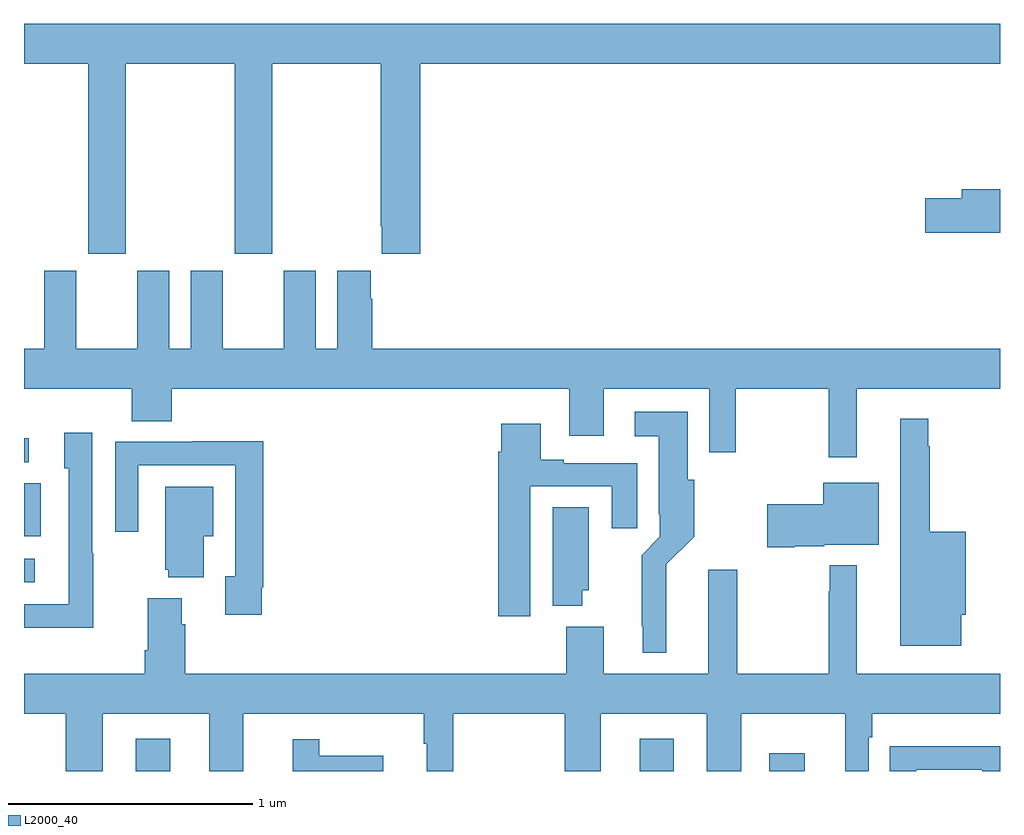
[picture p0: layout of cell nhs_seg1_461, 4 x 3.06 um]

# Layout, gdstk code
import gdstk
lib = gdstk.Library(unit=1e-6, precision=1e-09)
def R(c, l, rs):  # rectangles x0, y0, x1, y1
    for r in rs: c.add(gdstk.rectangle(r[:2], r[2:], *l))
def P(c, l, *ps):  # polygons
    for p in ps: c.add(gdstk.Polygon(p, *l))
L2000_40 = (2000, 40)

nhs_seg1_461 = lib.new_cell('nhs_seg1_461')
R(nhs_seg1_461, L2000_40, [(137.459,514.199,137.599,514.333), (139.523,514.199,139.663,514.333), (140.054,514.199,140.2,514.273), (137,514.974,137.044,515.07), (137,515.162,137.068,515.381), (137,515.466,137.02,515.564)])
P(nhs_seg1_461, L2000_40, [(137.418,517.1),(137.863,517.1),(137.863,516.321),(138.018,516.321),(138.018,517.1),(138.463,517.1),(138.463,516.433),(138.467,516.433),(138.467,516.321),(138.623,516.321),(138.623,517.1),(141,517.1),(141,517.264),(137,517.264),(137,517.1),(137.263,517.1),(137.263,516.321),(137.418,516.321)],
  [(141,516.584),(140.843,516.584),(140.843,516.548),(140.694,516.548),(140.694,516.406),(141,516.406)],
  [(138.284,516.25),(138.284,515.932),(138.196,515.932),(138.196,516.25),(138.065,516.25),(138.065,515.932),(137.815,515.932),(137.815,516.25),(137.684,516.25),(137.684,515.932),(137.596,515.932),(137.596,516.25),(137.465,516.25),(137.465,515.932),(137.215,515.932),(137.215,516.25),(137.084,516.25),(137.084,515.932),(137,515.932),(137,515.768),(137.441,515.768),(137.441,515.635),(137.606,515.635),(137.606,515.768),(139.235,515.768),(139.235,515.574),(139.375,515.574),(139.375,515.768),(139.809,515.768),(139.809,515.508),(139.918,515.508),(139.918,515.768),(140.299,515.768),(140.299,515.487),(140.413,515.487),(140.413,515.768),(141,515.768),(141,515.932),(138.428,515.932),(138.428,516.137),(138.421,516.137),(138.421,516.25)],
  [(139.633,515.048),(139.746,515.161),(139.746,515.394),(139.72,515.394),(139.72,515.674),(139.503,515.674),(139.503,515.573),(139.601,515.573),(139.601,515.254),(139.605,515.254),(139.605,515.16),(139.531,515.086),(139.531,514.795),(139.535,514.795),(139.535,514.685),(139.633,514.685)],
  [(140.842,514.842),(140.86,514.842),(140.86,515.182),(140.713,515.182),(140.713,515.531),(140.705,515.531),(140.705,515.644),(140.591,515.644),(140.591,514.715),(140.842,514.715)],
  [(139.075,515.367),(139.409,515.367),(139.409,515.196),(139.513,515.196),(139.513,515.463),(139.213,515.463),(139.213,515.476),(139.117,515.476),(139.117,515.623),(138.956,515.623),(138.956,515.51),(138.944,515.51),(138.944,514.836),(139.075,514.836)],
  [(137.283,515.093),(137.28,515.093),(137.28,515.587),(137.165,515.587),(137.165,515.442),(137.184,515.442),(137.184,514.884),(137,514.884),(137,514.787),(137.283,514.787)],
  [(137.974,514.954),(137.981,514.954),(137.981,515.552),(137.689,515.552),(137.689,515.55),(137.373,515.55),(137.373,515.181),(137.469,515.181),(137.469,515.454),(137.865,515.454),(137.865,514.998),(137.825,514.998),(137.825,514.842),(137.974,514.842)],
  [(140.158,515.122),(140.28,515.122),(140.28,515.129),(140.503,515.129),(140.503,515.383),(140.276,515.383),(140.276,515.295),(140.046,515.295),(140.046,515.117),(140.158,515.117)],
  [(137.737,515.162),(137.776,515.162),(137.776,515.365),(137.579,515.365),(137.579,515.025),(137.591,515.025),(137.591,514.994),(137.737,514.994)],
  [(139.288,514.941),(139.315,514.941),(139.315,515.282),(139.166,515.282),(139.166,514.877),(139.288,514.877)],
  [(137.323,514.436),(137.759,514.436),(137.759,514.199),(137.899,514.199),(137.899,514.436),(138.639,514.436),(138.639,514.313),(138.65,514.313),(138.65,514.199),(138.76,514.199),(138.76,514.436),(139.216,514.436),(139.216,514.199),(139.363,514.199),(139.363,514.436),(139.799,514.436),(139.799,514.199),(139.939,514.199),(139.939,514.436),(140.366,514.436),(140.366,514.199),(140.463,514.199),(140.463,514.34),(140.477,514.34),(140.477,514.436),(141,514.436),(141,514.6),(140.413,514.6),(140.413,515.044),(140.303,515.044),(140.303,514.937),(140.299,514.937),(140.299,514.6),(139.923,514.6),(139.923,515.026),(139.805,515.026),(139.805,514.6),(139.375,514.6),(139.375,514.792),(139.223,514.792),(139.223,514.6),(137.66,514.6),(137.66,514.802),(137.647,514.802),(137.647,514.909),(137.507,514.909),(137.507,514.696),(137.495,514.696),(137.495,514.6),(137,514.6),(137,514.436),(137.171,514.436),(137.171,514.199),(137.323,514.199)],
  [(138.472,514.264),(138.211,514.264),(138.211,514.33),(138.101,514.33),(138.101,514.199),(138.472,514.199)],
  [(140.656,514.206),(140.928,514.206),(140.928,514.199),(141,514.199),(141,514.303),(140.656,514.303),(140.656,514.302),(140.548,514.302),(140.548,514.199),(140.656,514.199)])

lib.write_gds('nhs_seg1_461.gds')
